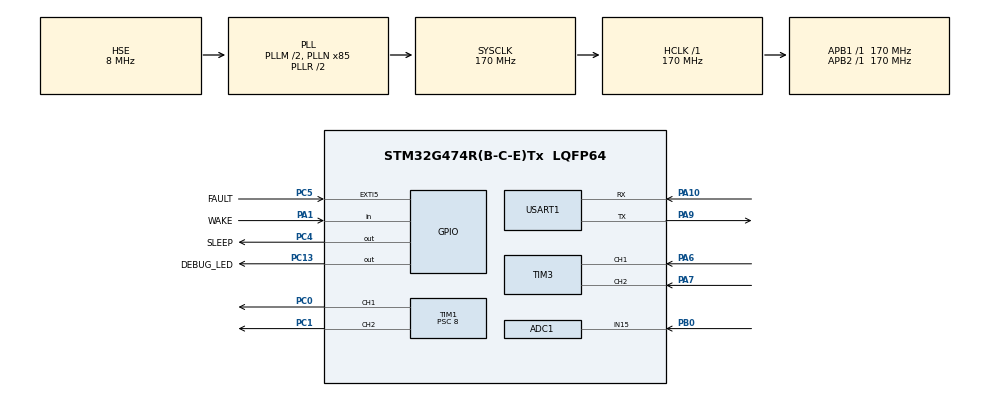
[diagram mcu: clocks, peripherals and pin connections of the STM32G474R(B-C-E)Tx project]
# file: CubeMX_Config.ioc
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ADC1.Channel-1\#ChannelRegularConversion=ADC_CHANNEL_15
ADC1.ContinuousConvMode=ENABLE
ADC1.DMAContinuousRequests=ENABLE
ADC1.GainCompensation=0
ADC1.NbrOfConversionFlag=1
ADC1.OffsetNumber-1\#ChannelRegularConversion=ADC_OFFSET_NONE
ADC1.Rank-1\#ChannelRegularConversion=1
ADC1.SamplingTime-1\#ChannelRegularConversion=ADC_SAMPLETIME_47CYCLES_5
ADC1.master=1
Dma.ADC1.1.Direction=DMA_PERIPH_TO_MEMORY
Dma.ADC1.1.EventEnable=DISABLE
Dma.ADC1.1.Instance=DMA1_Channel7
Dma.ADC1.1.MemDataAlignment=DMA_MDATAALIGN_HALFWORD
Dma.ADC1.1.MemInc=DMA_MINC_ENABLE
Dma.ADC1.1.Mode=DMA_CIRCULAR
Dma.ADC1.1.PeriphDataAlignment=DMA_PDATAALIGN_HALFWORD
Dma.ADC1.1.PeriphInc=DMA_PINC_DISABLE
Dma.ADC1.1.Polarity=HAL_DMAMUX_REQ_GEN_RISING
Dma.ADC1.1.Priority=DMA_PRIORITY_LOW
Dma.ADC1.1.RequestNumber=1
Dma.ADC1.1.SignalID=NONE
Dma.ADC1.1.SyncEnable=DISABLE
Dma.ADC1.1.SyncPolarity=HAL_DMAMUX_SYNC_NO_EVENT
Dma.ADC1.1.SyncRequestNumber=1
Dma.ADC1.1.SyncSignalID=NONE
Dma.Request0=USART1_TX
Dma.Request1=ADC1
Dma.USART1_TX.0.Direction=DMA_MEMORY_TO_PERIPH
Dma.USART1_TX.0.EventEnable=DISABLE
Dma.USART1_TX.0.Instance=DMA1_Channel1
Dma.USART1_TX.0.MemDataAlignment=DMA_MDATAALIGN_BYTE
Dma.USART1_TX.0.MemInc=DMA_MINC_ENABLE
Dma.USART1_TX.0.Mode=DMA_NORMAL
Dma.USART1_TX.0.PeriphDataAlignment=DMA_PDATAALIGN_BYTE
Dma.USART1_TX.0.PeriphInc=DMA_PINC_DISABLE
Dma.USART1_TX.0.Polarity=HAL_DMAMUX_REQ_GEN_RISING
Dma.USART1_TX.0.Priority=DMA_PRIORITY_LOW
Dma.USART1_TX.0.RequestNumber=1
Dma.USART1_TX.0.SignalID=NONE
Dma.USART1_TX.0.SyncEnable=DISABLE
Dma.USART1_TX.0.SyncPolarity=HAL_DMAMUX_SYNC_NO_EVENT
Dma.USART1_TX.0.SyncRequestNumber=1
Dma.USART1_TX.0.SyncSignalID=NONE
Mcu.Family=STM32G4
Mcu.Name=STM32G474R(B-C-E)Tx
Mcu.Package=LQFP64
NVIC.DMA1_Channel1_IRQn=true\:0\:0\:false\:false\:true\:false\:true\:true
NVIC.DMA1_Channel7_IRQn=true\:0\:0\:false\:false\:true\:false\:true\:true
NVIC.EXTI9_5_IRQn=true\:0\:0\:false\:false\:true\:true\:true\:true
NVIC.PriorityGroup=NVIC_PRIORITYGROUP_4
NVIC.TIM6_DAC_IRQn=true\:1\:0\:true\:false\:true\:true\:true\:true
NVIC.USART1_IRQn=true\:2\:0\:true\:false\:true\:true\:true\:true
PA1.GPIO_Label=WAKE
PA1.GPIO_PuPd=GPIO_PULLDOWN
PA1.Signal=GPIO_Input
PA10.Mode=Asynchronous
PA10.Signal=USART1_RX
PA13.Mode=Serial_Wire
PA13.Signal=SYS_JTMS-SWDIO
PA14.Mode=Serial_Wire
PA14.Signal=SYS_JTCK-SWCLK
PA6.Signal=S_TIM3_CH1
PA7.Signal=S_TIM3_CH2
PA9.Mode=Asynchronous
PA9.Signal=USART1_TX
PB0.Signal=SharedAnalog_PB0
PC0.Signal=S_TIM1_CH1
PC1.Signal=S_TIM1_CH2
PC13.GPIO_Label=DEBUG_LED
PC13.Signal=GPIO_Output
PC14-OSC32_IN.Mode=LSE-External-Oscillator
PC14-OSC32_IN.Signal=RCC_OSC32_IN
PC15-OSC32_OUT.Mode=LSE-External-Oscillator
PC15-OSC32_OUT.Signal=RCC_OSC32_OUT
PC4.GPIO_Label=SLEEP
PC4.GPIO_Speed=GPIO_SPEED_FREQ_VERY_HIGH
PC4.Signal=GPIO_Output
PC5.GPIO_Label=FAULT
PC5.GPIO_ModeDefaultEXTI=GPIO_MODE_IT_FALLING
PC5.GPIO_PuPd=GPIO_PULLUP
PC5.Signal=GPXTI5
PF0-OSC_IN.Mode=HSE-External-Oscillator
PF0-OSC_IN.Signal=RCC_OSC_IN
PF1-OSC_OUT.Mode=HSE-External-Oscillator
PF1-OSC_OUT.Signal=RCC_OSC_OUT
ProjectManager.HeapSize=0x200
ProjectManager.StackSize=0x400
ProjectManager.TargetToolchain=MDK-ARM V5.32
RCC.ADC12Freq_Value=170000000
RCC.ADC345Freq_Value=170000000
RCC.AHBFreq_Value=170000000
RCC.APB1Freq_Value=170000000
RCC.APB1TimFreq_Value=170000000
RCC.APB2Freq_Value=170000000
RCC.APB2TimFreq_Value=170000000
RCC.CortexFreq_Value=170000000
RCC.EXTERNAL_CLOCK_VALUE=12288000
RCC.HCLKFreq_Value=170000000
RCC.HSE_VALUE=8000000
RCC.HSI48_VALUE=48000000
RCC.HSI_VALUE=16000000
RCC.PLLM=RCC_PLLM_DIV2
RCC.PLLN=85
RCC.PLLSourceVirtual=RCC_PLLSOURCE_HSE
RCC.SYSCLKFreq_VALUE=170000000
RCC.SYSCLKSource=RCC_SYSCLKSOURCE_PLLCLK
RCC.USBFreq_Value=170000000
RCC.VCOOutputFreq_Value=340000000
SH.S_TIM1_CH1.0=TIM1_CH1,PWM Generation1 CH1
SH.S_TIM1_CH2.0=TIM1_CH2,PWM Generation2 CH2
SH.S_TIM3_CH1.0=TIM3_CH1,Encoder_Interface
SH.S_TIM3_CH2.0=TIM3_CH2,Encoder_Interface
SH.SharedAnalog_PB0.0=GPIO_Analog
SH.SharedAnalog_PB0.1=ADC1_IN15,IN15-Single-Ended
TIM1.Channel-PWM\ Generation1\ CH1=TIM_CHANNEL_1
TIM1.Channel-PWM\ Generation2\ CH2=TIM_CHANNEL_2
TIM1.PeriodNoDither=1000-1
TIM1.Prescaler=8
TIM3.EncoderMode=TIM_ENCODERMODE_TI12
TIM6.PeriodNoDither=5000-1
TIM6.Prescaler=1700-1
USART1.VirtualMode-Asynchronous=VM_ASYNC
VP_SYS_VS_DBSignals.Mode=DisableDeadBatterySignals
VP_SYS_V_VREFBUF.Mode=ExternalMode
VP_TIM1_VS_ClockSourceINT.Mode=Internal
VP_TIM6_VS_ClockSourceINT.Mode=Enable_Timer
VP_TIM7_VS_ClockSourceINT.Mode=Enable_Timer
board=custom

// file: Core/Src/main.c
/* USER CODE BEGIN Header */
/**
  ******************************************************************************
  * @file           : main.c
  * @brief          : Main program body
  ******************************************************************************
  * @attention
  *
  * Copyright (c) 2025 STMicroelectronics.
  * All rights reserved.
  *
  * This software is licensed under terms that can be found in the LICENSE file
  * in the root directory of this software component.
  * If no LICENSE file comes with this software, it is provided AS-IS.
  *
  ******************************************************************************
  */
/* USER CODE END Header */
#include "main.h"
#include "adc.h"
#include "dma.h"
#include "tim.h"
#include "usart.h"
#include "gpio.h"

/* USER CODE BEGIN Includes */
#include "log.h"
#include "delay.h"
#include "drv_8876.h"
#include "drv_encoder.h"
#include "pid.h"
/* USER CODE END Includes */

/* USER CODE BEGIN PTD */
/*
这个代码实现功能就是利用pid进行精准调速参数需要调整
采用的电机是：
轮趣科技MG310直流减速电机GMR霍尔编码器MG370电子设计竞赛TI杯这个店铺的
MG310电机(GMR编码器) 轴径3mm【多仓发货 大部分区域次日达】
500ppr 1：20减速比

测速的实现：使用定时器3的PA6 PA7进行AB相测量
M法测速:这里我只说我这里的应用公式的含义自己去了解
增量脉冲数/每圈脉冲数×T *60 得到就算rpm 也就是 r/min
我这里的公式就是drv_encoder.c中的
encoderSpeed.pulses_per_motor_revolution = pulses_per_rev * multiplier * gear_ratio;// 位置累加，delta_cnt带符号
encoderSpeed.motor_position_revolutions += ((float)delta_cnt / encoderSpeed.pulses_per_motor_revolution);
// 转速计算（用绝对值，单位RPM）
float rev_per_sec = (float)(abs(delta_cnt)) / (encoderSpeed.sample_time_s * encoderSpeed.pulses_per_motor_revolution);
简单来说就是把测到的脉冲数除以每圈的脉冲数就是转了几圈（n）
n/T(采样时间)这里的T就是你想要多久测一次速度得到的就是n /0.05s = n r/s
n r/s * 60 = n r/min
采样周期是利用TIM6的定时器中断设置的50ms进一次中断采样一次计算一次当然可以
加快想要修改就通过CUBEMX修改就可以。
*/
/* USER CODE END PTD */

/* USER CODE BEGIN PV */
float rpm = 0.000f;
/* USER CODE END PV */

void SystemClock_Config(void);

int main(void)
{

  /* MCU Configuration--------------------------------------------------------*/

  /* Reset of all peripherals, Initializes the Flash interface and the Systick. */
  HAL_Init();

  /* Configure the system clock */
  SystemClock_Config();

  /* Initialize all configured peripherals */
  MX_GPIO_Init();
  MX_DMA_Init();
  MX_USART1_UART_Init();
  MX_TIM1_Init();
  MX_TIM3_Init();
  MX_TIM7_Init();
  MX_ADC1_Init();
  MX_TIM6_Init();
  /* USER CODE BEGIN 2 */
	DelayTimer_GlobalInit();     // 全局延时初始化
	log_init();                  // 日志串口打印
	drv8876_init();              // 电机驱动初始化

	Set_PWM_Duty(0);             // 初始化时先不转
	EncoderSpeed_Init(500, 20, 4, 0.05f);  // PPR=500，减速比1:20，4倍频，采样周期50ms
	PID_Control_Init();
  /* USER CODE END 2 */

  /* Infinite loop */
  /* USER CODE BEGIN WHILE */
  while (1)
  {
		hal_led_star();          // 运行指示
		fault_process();         // 错误检测（如DRV8876故障）

		rpm = EncoderSpeed_GetRPM();
		LOG_I("RPM: %.2f", rpm); // 串口每秒打印一次当前转速

		HAL_Delay(1000);         // 可改成 RTOS delay
    /* USER CODE END WHILE */

  }
}

void SystemClock_Config(void)
{
  RCC_OscInitTypeDef RCC_OscInitStruct = {0};
  RCC_ClkInitTypeDef RCC_ClkInitStruct = {0};

  /** Configure the main internal regulator output voltage
  */
  HAL_PWREx_ControlVoltageScaling(PWR_REGULATOR_VOLTAGE_SCALE1_BOOST);

  /** Initializes the RCC Oscillators according to the specified parameters
  * in the RCC_OscInitTypeDef structure.
  */
  RCC_OscInitStruct.OscillatorType = RCC_OSCILLATORTYPE_HSE;
  RCC_OscInitStruct.HSEState = RCC_HSE_ON;
  RCC_OscInitStruct.PLL.PLLState = RCC_PLL_ON;
  RCC_OscInitStruct.PLL.PLLSource = RCC_PLLSOURCE_HSE;
  RCC_OscInitStruct.PLL.PLLM = RCC_PLLM_DIV2;
  RCC_OscInitStruct.PLL.PLLN = 85;
  RCC_OscInitStruct.PLL.PLLP = RCC_PLLP_DIV2;
  RCC_OscInitStruct.PLL.PLLQ = RCC_PLLQ_DIV2;
  RCC_OscInitStruct.PLL.PLLR = RCC_PLLR_DIV2;
  if (HAL_RCC_OscConfig(&RCC_OscInitStruct) != HAL_OK)
  {
    Error_Handler();
  }

  /** Initializes the CPU, AHB and APB buses clocks
  */
  RCC_ClkInitStruct.ClockType = RCC_CLOCKTYPE_HCLK|RCC_CLOCKTYPE_SYSCLK
                              |RCC_CLOCKTYPE_PCLK1|RCC_CLOCKTYPE_PCLK2;
  RCC_ClkInitStruct.SYSCLKSource = RCC_SYSCLKSOURCE_PLLCLK;
  RCC_ClkInitStruct.AHBCLKDivider = RCC_SYSCLK_DIV1;
  RCC_ClkInitStruct.APB1CLKDivider = RCC_HCLK_DIV1;
  RCC_ClkInitStruct.APB2CLKDivider = RCC_HCLK_DIV1;

  if (HAL_RCC_ClockConfig(&RCC_ClkInitStruct, FLASH_LATENCY_4) != HAL_OK)
  {
    Error_Handler();
  }
}

/* USER CODE BEGIN 4 */
void HAL_TIM_PeriodElapsedCallback(TIM_HandleTypeDef *htim)
{
	 if (htim->Instance == TIM6)
    {
			PID_Control_Update();
    }
}
/* USER CODE END 4 */

void Error_Handler(void)
{
  __disable_irq();
  while (1)
  {
  }
}
